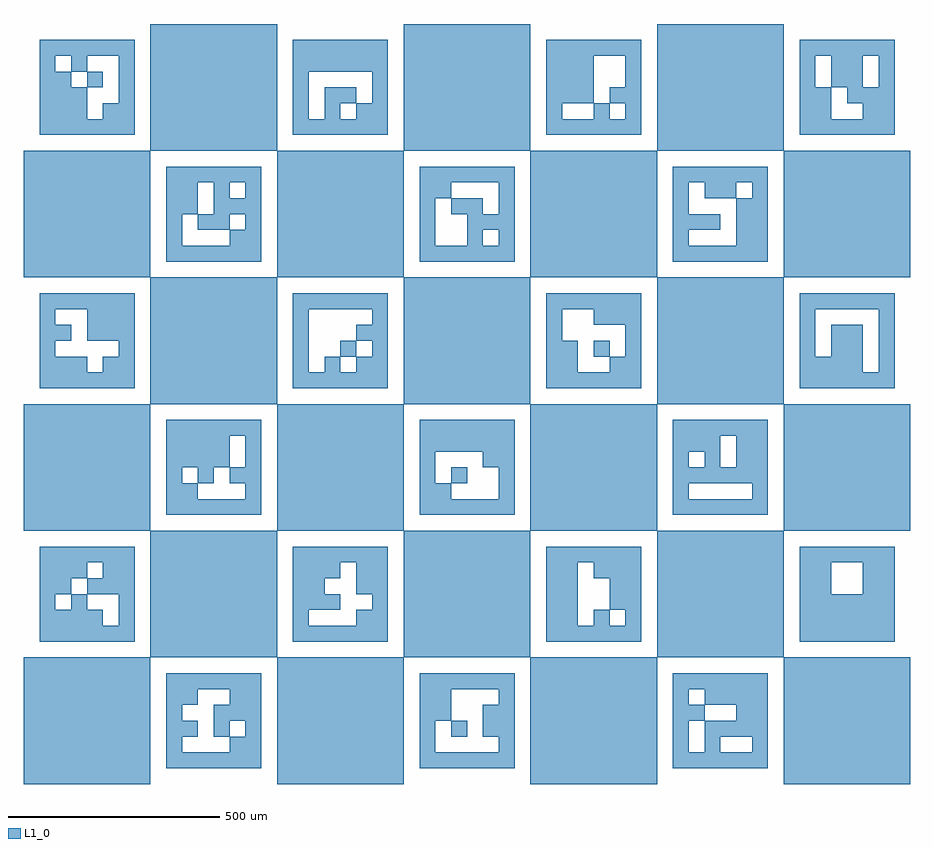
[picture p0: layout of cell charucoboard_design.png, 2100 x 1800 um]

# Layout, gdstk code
import gdstk
lib = gdstk.Library(unit=1e-6, precision=1e-09)
def R(c, l, rs):  # rectangles x0, y0, x1, y1
    for r in rs: c.add(gdstk.rectangle(r[:2], r[2:], *l))
def A(c, l, x, y, w, h, nx, ny, dx, dy):  # array of equal rectangles
    R(c, l, [(x+i*dx, y+j*dy, x+i*dx+w, y+j*dy+h) for i in range(nx) for j in range(ny)])
L1_0 = (1, 0)

charucoboard_design_png = lib.new_cell('charucoboard_design.png')
A(charucoboard_design_png, L1_0, -1050, -900, 300, 9.375, 4, 32, 600, 9.375)
A(charucoboard_design_png, L1_0, -712.5, -862.5, 225, 9.375, 3, 4, 600, 9.375)
A(charucoboard_design_png, L1_0, -712.5, -825, 37.5, 9.375, 1, 4, 0, 9.375)
A(charucoboard_design_png, L1_0, -562.5, -825, 75, 9.375, 1, 4, 0, 9.375)
A(charucoboard_design_png, L1_0, -112.5, -825, 37.5, 9.375, 1, 8, 0, 9.375)
A(charucoboard_design_png, L1_0, 75, -825, 37.5, 9.375, 1, 4, 0, 9.375)
A(charucoboard_design_png, L1_0, 487.5, -825, 37.5, 9.375, 1, 8, 0, 9.375)
A(charucoboard_design_png, L1_0, 562.5, -825, 37.5, 9.375, 1, 4, 0, 9.375)
A(charucoboard_design_png, L1_0, 675, -825, 37.5, 9.375, 1, 4, 0, 9.375)
A(charucoboard_design_png, L1_0, -712.5, -787.5, 75, 9.375, 1, 4, 0, 9.375)
A(charucoboard_design_png, L1_0, -600, -787.5, 37.5, 9.375, 1, 4, 0, 9.375)
A(charucoboard_design_png, L1_0, -525, -787.5, 37.5, 9.375, 1, 4, 0, 9.375)
A(charucoboard_design_png, L1_0, -37.5, -787.5, 37.5, 9.375, 1, 4, 0, 9.375)
A(charucoboard_design_png, L1_0, 37.5, -787.5, 75, 9.375, 1, 8, 0, 9.375)
A(charucoboard_design_png, L1_0, 562.5, -787.5, 150, 9.375, 1, 4, 0, 9.375)
A(charucoboard_design_png, L1_0, -712.5, -750, 37.5, 9.375, 1, 4, 0, 9.375)
A(charucoboard_design_png, L1_0, -600, -750, 112.5, 9.375, 1, 4, 0, 9.375)
A(charucoboard_design_png, L1_0, -112.5, -750, 75, 9.375, 1, 8, 0, 9.375)
A(charucoboard_design_png, L1_0, 487.5, -750, 75, 9.375, 1, 4, 0, 9.375)
A(charucoboard_design_png, L1_0, 637.5, -750, 75, 9.375, 1, 4, 0, 9.375)
A(charucoboard_design_png, L1_0, -712.5, -712.5, 75, 9.375, 1, 4, 0, 9.375)
A(charucoboard_design_png, L1_0, -562.5, -712.5, 75, 9.375, 1, 4, 0, 9.375)
A(charucoboard_design_png, L1_0, 75, -712.5, 37.5, 9.375, 1, 4, 0, 9.375)
A(charucoboard_design_png, L1_0, 487.5, -712.5, 37.5, 9.375, 1, 4, 0, 9.375)
A(charucoboard_design_png, L1_0, 562.5, -712.5, 150, 9.375, 1, 4, 0, 9.375)
A(charucoboard_design_png, L1_0, -712.5, -675, 225, 9.375, 3, 4, 600, 9.375)
A(charucoboard_design_png, L1_0, -750, -600, 300, 9.375, 3, 32, 600, 9.375)
A(charucoboard_design_png, L1_0, -1012.5, -562.5, 225, 9.375, 4, 4, 600, 9.375)
A(charucoboard_design_png, L1_0, -1012.5, -525, 150, 9.375, 1, 4, 0, 9.375)
A(charucoboard_design_png, L1_0, -825, -525, 37.5, 9.375, 1, 8, 0, 9.375)
A(charucoboard_design_png, L1_0, -412.5, -525, 37.5, 9.375, 1, 4, 0, 9.375)
A(charucoboard_design_png, L1_0, -262.5, -525, 75, 9.375, 1, 4, 0, 9.375)
A(charucoboard_design_png, L1_0, 187.5, -525, 75, 9.375, 1, 16, 0, 9.375)
A(charucoboard_design_png, L1_0, 300, -525, 37.5, 9.375, 1, 4, 0, 9.375)
A(charucoboard_design_png, L1_0, 375, -525, 37.5, 9.375, 1, 4, 0, 9.375)
A(charucoboard_design_png, L1_0, 787.5, -525, 225, 9.375, 1, 8, 0, 9.375)
A(charucoboard_design_png, L1_0, -1012.5, -487.5, 37.5, 9.375, 1, 4, 0, 9.375)
A(charucoboard_design_png, L1_0, -937.5, -487.5, 37.5, 9.375, 1, 4, 0, 9.375)
A(charucoboard_design_png, L1_0, -412.5, -487.5, 112.5, 9.375, 1, 4, 0, 9.375)
A(charucoboard_design_png, L1_0, -225, -487.5, 37.5, 9.375, 1, 4, 0, 9.375)
A(charucoboard_design_png, L1_0, 337.5, -487.5, 75, 9.375, 1, 8, 0, 9.375)
A(charucoboard_design_png, L1_0, -1012.5, -450, 75, 9.375, 1, 4, 0, 9.375)
A(charucoboard_design_png, L1_0, -900, -450, 112.5, 9.375, 1, 4, 0, 9.375)
A(charucoboard_design_png, L1_0, -412.5, -450, 75, 9.375, 1, 4, 0, 9.375)
A(charucoboard_design_png, L1_0, -262.5, -450, 75, 9.375, 1, 8, 0, 9.375)
A(charucoboard_design_png, L1_0, 787.5, -450, 75, 9.375, 1, 8, 0, 9.375)
A(charucoboard_design_png, L1_0, 937.5, -450, 75, 9.375, 1, 8, 0, 9.375)
A(charucoboard_design_png, L1_0, -1012.5, -412.5, 112.5, 9.375, 1, 4, 0, 9.375)
A(charucoboard_design_png, L1_0, -862.5, -412.5, 75, 9.375, 1, 4, 0, 9.375)
A(charucoboard_design_png, L1_0, -412.5, -412.5, 112.5, 9.375, 1, 4, 0, 9.375)
A(charucoboard_design_png, L1_0, 300, -412.5, 112.5, 9.375, 1, 4, 0, 9.375)
A(charucoboard_design_png, L1_0, -1012.5, -375, 225, 9.375, 4, 4, 600, 9.375)
A(charucoboard_design_png, L1_0, -1050, -300, 300, 9.375, 4, 32, 600, 9.375)
A(charucoboard_design_png, L1_0, -712.5, -262.5, 225, 9.375, 3, 4, 600, 9.375)
A(charucoboard_design_png, L1_0, -712.5, -225, 75, 9.375, 1, 4, 0, 9.375)
A(charucoboard_design_png, L1_0, -525, -225, 37.5, 9.375, 1, 4, 0, 9.375)
A(charucoboard_design_png, L1_0, -112.5, -225, 75, 9.375, 1, 4, 0, 9.375)
A(charucoboard_design_png, L1_0, 75, -225, 37.5, 9.375, 1, 8, 0, 9.375)
A(charucoboard_design_png, L1_0, 487.5, -225, 37.5, 9.375, 1, 4, 0, 9.375)
A(charucoboard_design_png, L1_0, 675, -225, 37.5, 9.375, 1, 4, 0, 9.375)
A(charucoboard_design_png, L1_0, -712.5, -187.5, 37.5, 9.375, 1, 4, 0, 9.375)
A(charucoboard_design_png, L1_0, -637.5, -187.5, 37.5, 9.375, 1, 4, 0, 9.375)
A(charucoboard_design_png, L1_0, -562.5, -187.5, 75, 9.375, 1, 4, 0, 9.375)
A(charucoboard_design_png, L1_0, -112.5, -187.5, 37.5, 9.375, 1, 8, 0, 9.375)
A(charucoboard_design_png, L1_0, -37.5, -187.5, 37.5, 9.375, 1, 4, 0, 9.375)
A(charucoboard_design_png, L1_0, 487.5, -187.5, 225, 9.375, 1, 4, 0, 9.375)
A(charucoboard_design_png, L1_0, -712.5, -150, 150, 9.375, 1, 8, 0, 9.375)
A(charucoboard_design_png, L1_0, -525, -150, 37.5, 9.375, 1, 8, 0, 9.375)
A(charucoboard_design_png, L1_0, 37.5, -150, 75, 9.375, 1, 4, 0, 9.375)
A(charucoboard_design_png, L1_0, 487.5, -150, 37.5, 9.375, 1, 4, 0, 9.375)
A(charucoboard_design_png, L1_0, 562.5, -150, 37.5, 9.375, 1, 4, 0, 9.375)
A(charucoboard_design_png, L1_0, 637.5, -150, 75, 9.375, 1, 8, 0, 9.375)
A(charucoboard_design_png, L1_0, -112.5, -112.5, 225, 9.375, 1, 4, 0, 9.375)
A(charucoboard_design_png, L1_0, 487.5, -112.5, 112.5, 9.375, 1, 4, 0, 9.375)
A(charucoboard_design_png, L1_0, -712.5, -75, 225, 9.375, 3, 4, 600, 9.375)
A(charucoboard_design_png, L1_0, -750, 0, 300, 9.375, 3, 32, 600, 9.375)
A(charucoboard_design_png, L1_0, -1012.5, 37.5, 225, 9.375, 4, 4, 600, 9.375)
A(charucoboard_design_png, L1_0, -1012.5, 75, 112.5, 9.375, 1, 4, 0, 9.375)
A(charucoboard_design_png, L1_0, -862.5, 75, 75, 9.375, 1, 4, 0, 9.375)
A(charucoboard_design_png, L1_0, -412.5, 75, 37.5, 9.375, 1, 16, 0, 9.375)
A(charucoboard_design_png, L1_0, -337.5, 75, 37.5, 9.375, 1, 4, 0, 9.375)
A(charucoboard_design_png, L1_0, -262.5, 75, 75, 9.375, 1, 4, 0, 9.375)
A(charucoboard_design_png, L1_0, 187.5, 75, 75, 9.375, 1, 8, 0, 9.375)
A(charucoboard_design_png, L1_0, 337.5, 75, 75, 9.375, 1, 4, 0, 9.375)
A(charucoboard_design_png, L1_0, 787.5, 75, 150, 9.375, 1, 4, 0, 9.375)
A(charucoboard_design_png, L1_0, 975, 75, 37.5, 9.375, 1, 16, 0, 9.375)
A(charucoboard_design_png, L1_0, -1012.5, 112.5, 37.5, 9.375, 1, 4, 0, 9.375)
A(charucoboard_design_png, L1_0, -825, 112.5, 37.5, 9.375, 1, 4, 0, 9.375)
A(charucoboard_design_png, L1_0, -300, 112.5, 37.5, 9.375, 1, 4, 0, 9.375)
A(charucoboard_design_png, L1_0, -225, 112.5, 37.5, 9.375, 1, 4, 0, 9.375)
A(charucoboard_design_png, L1_0, 300, 112.5, 37.5, 9.375, 1, 4, 0, 9.375)
A(charucoboard_design_png, L1_0, 375, 112.5, 37.5, 9.375, 1, 8, 0, 9.375)
A(charucoboard_design_png, L1_0, 787.5, 112.5, 37.5, 9.375, 1, 12, 0, 9.375)
A(charucoboard_design_png, L1_0, 862.5, 112.5, 75, 9.375, 1, 8, 0, 9.375)
A(charucoboard_design_png, L1_0, -1012.5, 150, 75, 9.375, 1, 4, 0, 9.375)
A(charucoboard_design_png, L1_0, -900, 150, 112.5, 9.375, 1, 8, 0, 9.375)
A(charucoboard_design_png, L1_0, -262.5, 150, 75, 9.375, 1, 4, 0, 9.375)
A(charucoboard_design_png, L1_0, 187.5, 150, 37.5, 9.375, 1, 8, 0, 9.375)
A(charucoboard_design_png, L1_0, -1012.5, 187.5, 37.5, 9.375, 1, 4, 0, 9.375)
A(charucoboard_design_png, L1_0, -225, 187.5, 37.5, 9.375, 1, 4, 0, 9.375)
A(charucoboard_design_png, L1_0, 300, 187.5, 112.5, 9.375, 1, 4, 0, 9.375)
A(charucoboard_design_png, L1_0, -1012.5, 225, 225, 9.375, 4, 4, 600, 9.375)
A(charucoboard_design_png, L1_0, -1050, 300, 300, 9.375, 4, 32, 600, 9.375)
A(charucoboard_design_png, L1_0, -712.5, 337.5, 225, 9.375, 3, 4, 600, 9.375)
A(charucoboard_design_png, L1_0, -712.5, 375, 37.5, 9.375, 1, 8, 0, 9.375)
A(charucoboard_design_png, L1_0, -562.5, 375, 75, 9.375, 1, 4, 0, 9.375)
A(charucoboard_design_png, L1_0, -112.5, 375, 37.5, 9.375, 1, 12, 0, 9.375)
A(charucoboard_design_png, L1_0, 0, 375, 37.5, 9.375, 1, 4, 0, 9.375)
A(charucoboard_design_png, L1_0, 75, 375, 37.5, 9.375, 1, 4, 0, 9.375)
A(charucoboard_design_png, L1_0, 487.5, 375, 37.5, 9.375, 1, 4, 0, 9.375)
A(charucoboard_design_png, L1_0, 637.5, 375, 75, 9.375, 1, 8, 0, 9.375)
A(charucoboard_design_png, L1_0, -637.5, 412.5, 75, 9.375, 1, 4, 0, 9.375)
A(charucoboard_design_png, L1_0, -525, 412.5, 37.5, 9.375, 1, 4, 0, 9.375)
A(charucoboard_design_png, L1_0, 0, 412.5, 112.5, 9.375, 1, 4, 0, 9.375)
A(charucoboard_design_png, L1_0, 487.5, 412.5, 112.5, 9.375, 1, 4, 0, 9.375)
A(charucoboard_design_png, L1_0, -712.5, 450, 75, 9.375, 3, 4, 675, 9.375)
A(charucoboard_design_png, L1_0, -600, 450, 112.5, 9.375, 1, 4, 0, 9.375)
A(charucoboard_design_png, L1_0, 75, 450, 37.5, 9.375, 1, 8, 0, 9.375)
A(charucoboard_design_png, L1_0, 487.5, 450, 37.5, 9.375, 1, 8, 0, 9.375)
A(charucoboard_design_png, L1_0, -712.5, 487.5, 75, 9.375, 1, 4, 0, 9.375)
A(charucoboard_design_png, L1_0, -600, 487.5, 37.5, 9.375, 1, 4, 0, 9.375)
A(charucoboard_design_png, L1_0, -525, 487.5, 37.5, 9.375, 1, 4, 0, 9.375)
A(charucoboard_design_png, L1_0, -112.5, 487.5, 75, 9.375, 1, 4, 0, 9.375)
A(charucoboard_design_png, L1_0, 562.5, 487.5, 75, 9.375, 1, 4, 0, 9.375)
A(charucoboard_design_png, L1_0, 675, 487.5, 37.5, 9.375, 1, 4, 0, 9.375)
A(charucoboard_design_png, L1_0, -712.5, 525, 225, 9.375, 3, 4, 600, 9.375)
A(charucoboard_design_png, L1_0, -750, 600, 300, 9.375, 3, 32, 600, 9.375)
A(charucoboard_design_png, L1_0, -1012.5, 637.5, 225, 9.375, 4, 4, 600, 9.375)
A(charucoboard_design_png, L1_0, -1012.5, 675, 112.5, 9.375, 1, 8, 0, 9.375)
A(charucoboard_design_png, L1_0, -862.5, 675, 75, 9.375, 1, 4, 0, 9.375)
A(charucoboard_design_png, L1_0, -412.5, 675, 37.5, 9.375, 1, 12, 0, 9.375)
A(charucoboard_design_png, L1_0, -337.5, 675, 37.5, 9.375, 1, 4, 0, 9.375)
A(charucoboard_design_png, L1_0, -262.5, 675, 75, 9.375, 1, 4, 0, 9.375)
A(charucoboard_design_png, L1_0, 187.5, 675, 37.5, 9.375, 1, 4, 0, 9.375)
A(charucoboard_design_png, L1_0, 300, 675, 37.5, 9.375, 1, 4, 0, 9.375)
A(charucoboard_design_png, L1_0, 375, 675, 37.5, 9.375, 1, 4, 0, 9.375)
A(charucoboard_design_png, L1_0, 787.5, 675, 75, 9.375, 1, 8, 0, 9.375)
A(charucoboard_design_png, L1_0, 937.5, 675, 75, 9.375, 1, 4, 0, 9.375)
A(charucoboard_design_png, L1_0, -825, 712.5, 37.5, 9.375, 1, 12, 0, 9.375)
A(charucoboard_design_png, L1_0, -337.5, 712.5, 75, 9.375, 1, 4, 0, 9.375)
A(charucoboard_design_png, L1_0, -225, 712.5, 37.5, 9.375, 1, 8, 0, 9.375)
A(charucoboard_design_png, L1_0, 187.5, 712.5, 112.5, 9.375, 1, 12, 0, 9.375)
A(charucoboard_design_png, L1_0, 337.5, 712.5, 75, 9.375, 1, 4, 0, 9.375)
A(charucoboard_design_png, L1_0, 900, 712.5, 112.5, 9.375, 1, 4, 0, 9.375)
A(charucoboard_design_png, L1_0, -1012.5, 750, 75, 9.375, 1, 4, 0, 9.375)
A(charucoboard_design_png, L1_0, -900, 750, 37.5, 9.375, 1, 4, 0, 9.375)
A(charucoboard_design_png, L1_0, 375, 750, 37.5, 9.375, 1, 8, 0, 9.375)
A(charucoboard_design_png, L1_0, 787.5, 750, 37.5, 9.375, 1, 8, 0, 9.375)
A(charucoboard_design_png, L1_0, 862.5, 750, 75, 9.375, 1, 8, 0, 9.375)
A(charucoboard_design_png, L1_0, 975, 750, 37.5, 9.375, 1, 8, 0, 9.375)
A(charucoboard_design_png, L1_0, -1012.5, 787.5, 37.5, 9.375, 1, 4, 0, 9.375)
A(charucoboard_design_png, L1_0, -937.5, 787.5, 37.5, 9.375, 1, 4, 0, 9.375)
A(charucoboard_design_png, L1_0, -412.5, 787.5, 225, 9.375, 1, 4, 0, 9.375)
A(charucoboard_design_png, L1_0, -1012.5, 825, 225, 9.375, 4, 4, 600, 9.375)

lib.write_gds('charucoboard_design.png.gds')
